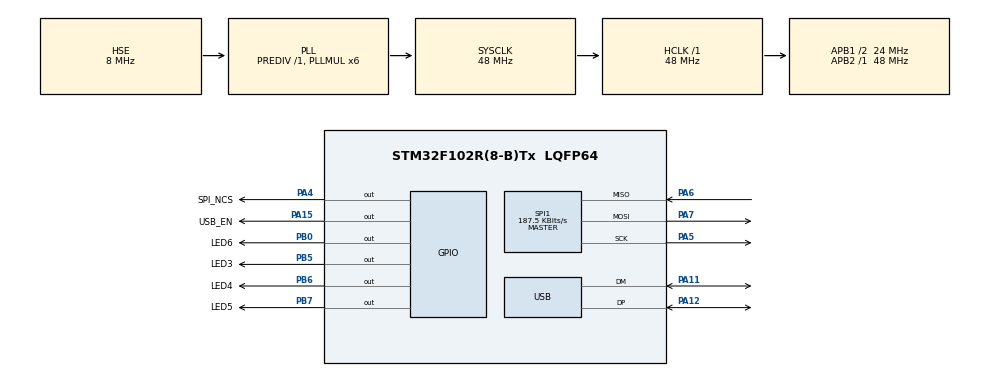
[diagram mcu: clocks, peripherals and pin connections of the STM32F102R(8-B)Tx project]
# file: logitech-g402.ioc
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Mcu.Family=STM32F1
Mcu.Name=STM32F102R(8-B)Tx
Mcu.Package=LQFP64
NVIC.PriorityGroup=NVIC_PRIORITYGROUP_4
NVIC.TIM4_IRQn=true\:0\:0\:false\:false\:true\:true\:true
NVIC.USB_HP_IRQn=true\:0\:0\:false\:false\:true\:true\:true
NVIC.USB_LP_IRQn=true\:0\:0\:false\:false\:true\:false\:true
PA11.Mode=Device
PA11.Signal=USB_DM
PA12.Mode=Device
PA12.Signal=USB_DP
PA13.Mode=Serial_Wire
PA13.Signal=SYS_JTMS-SWDIO
PA14.Mode=Serial_Wire
PA14.Signal=SYS_JTCK-SWCLK
PA15.GPIO_Label=USB_EN
PA15.Signal=GPIO_Output
PA4.GPIO_Label=SPI_NCS
PA4.GPIO_Speed=GPIO_SPEED_FREQ_HIGH
PA4.Signal=GPIO_Output
PA5.Mode=Full_Duplex_Master
PA5.Signal=SPI1_SCK
PA6.Mode=Full_Duplex_Master
PA6.Signal=SPI1_MISO
PA7.Mode=Full_Duplex_Master
PA7.Signal=SPI1_MOSI
PB0.GPIO_Label=LED6
PB0.Signal=GPIO_Output
PB5.GPIO_Label=LED3
PB5.Signal=GPIO_Output
PB6.GPIO_Label=LED4
PB6.Signal=GPIO_Output
PB7.GPIO_Label=LED5
PB7.Signal=GPIO_Output
PD0-OSC_IN.Mode=HSE-External-Oscillator
PD0-OSC_IN.Signal=RCC_OSC_IN
PD1-OSC_OUT.Mode=HSE-External-Oscillator
PD1-OSC_OUT.Signal=RCC_OSC_OUT
ProjectManager.HeapSize=0x200
ProjectManager.StackSize=0x400
ProjectManager.TargetToolchain=STM32CubeIDE
RCC.AHBFreq_Value=48000000
RCC.APB1CLKDivider=RCC_HCLK_DIV2
RCC.APB1Freq_Value=24000000
RCC.APB1TimFreq_Value=48000000
RCC.APB2Freq_Value=48000000
RCC.HCLKFreq_Value=48000000
RCC.PLLMUL=RCC_PLL_MUL6
RCC.SYSCLKFreq_VALUE=48000000
RCC.SYSCLKSource=RCC_SYSCLKSOURCE_PLLCLK
RCC.USBFreq_Value=48000000
SPI1.BaudRatePrescaler=SPI_BAUDRATEPRESCALER_256
SPI1.CLKPhase=SPI_PHASE_1EDGE
SPI1.CLKPolarity=SPI_POLARITY_LOW
SPI1.CalculateBaudRate=187.5 KBits/s
SPI1.Direction=SPI_DIRECTION_2LINES
SPI1.Mode=SPI_MODE_MASTER
SPI1.VirtualType=VM_MASTER
TIM4.Channel-Output\ Compare3\ No\ Output=TIM_CHANNEL_3
TIM4.Period=10 - 1
TIM4.Prescaler=48 - 1
TIM4.TIM_MasterOutputTrigger=TIM_TRGO_RESET
USB_DEVICE.CLASS_NAME_FS=CUSTOM_HID
USB_DEVICE.CUSTOM_HID_FS_BINTERVAL=0x1
USB_DEVICE.PID_CUSTOMHID_FS=0xFF11
USB_DEVICE.USBD_CUSTOMHID_OUTREPORT_BUF_SIZE=64
USB_DEVICE.USBD_CUSTOM_HID_REPORT_DESC_SIZE=64
USB_DEVICE.VirtualMode=CustomHid
USB_DEVICE.VirtualModeFS=Custom_Hid_FS
VP_TIM4_VS_ClockSourceINT.Mode=Internal
VP_TIM4_VS_no_output3.Mode=Output Compare3 No Output
VP_USB_DEVICE_VS_USB_DEVICE_CUSTOM_HID_FS.Mode=CUSTOM_HID_FS
board=custom

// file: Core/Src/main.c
/* USER CODE BEGIN Header */
/**
 ******************************************************************************
 * @file           : main.c
 * @brief          : Main program body
 ******************************************************************************
 * @attention
 *
 * Copyright (c) 2022 STMicroelectronics.
 * All rights reserved.
 *
 * This software is licensed under terms that can be found in the LICENSE file
 * in the root directory of this software component.
 * If no LICENSE file comes with this software, it is provided AS-IS.
 *
 ******************************************************************************
 */
/* USER CODE END Header */
#include "main.h"
#include "usb_device.h"

/* USER CODE BEGIN Includes */
#include "usbd_custom_hid_if.h"
/* USER CODE END Includes */

/* USER CODE BEGIN PTD */
#define ARRAY_SIZE	26
/* USER CODE END PTD */

SPI_HandleTypeDef hspi1;

TIM_HandleTypeDef htim4;

/* USER CODE BEGIN PV */
extern USBD_HandleTypeDef hUsbDeviceFS;

uint8_t	usb_rx_buffer[64];
uint8_t	usb_tx_buffer[64];
uint8_t	usb_rx_ready;
uint8_t	usb_tx_ready = 1;
uint8_t 		tmp;

struct __attribute__((__packed__))  FRAME{
	uint8_t	start;
	uint8_t	line;
	uint8_t	linebuff[ARRAY_SIZE * 2]; //accounts to about
}*frame;

volatile uint32_t us_tick;

/* USER CODE END PV */

void SystemClock_Config(void);
static void MX_GPIO_Init(void);
static void MX_SPI1_Init(void);
static void MX_TIM4_Init(void);

/* USER CODE BEGIN 0 */

void HAL_TIM_PeriodElapsedCallback(TIM_HandleTypeDef *htim)
{
	if (htim == &htim4)
	{
		if(us_tick > 0)
			us_tick--;
	}
}

void delay_us(uint32_t time)
{
	us_tick = time/10;
	while(us_tick != 0)
		__asm__("nop");
}

void blink()
{
	static uint32_t blink_tick;
	static uint32_t led;

	if(uwTick < blink_tick + 1000)
		return;

	switch(led)
	{
	case 0:
		HAL_GPIO_TogglePin(LED3_GPIO_Port, LED3_Pin);
		break;
	case 1:
		HAL_GPIO_TogglePin(LED4_GPIO_Port, LED4_Pin);
		break;
	case 2:
		HAL_GPIO_TogglePin(LED5_GPIO_Port, LED5_Pin);
		break;
	case 3:
		HAL_GPIO_TogglePin(LED6_GPIO_Port, LED6_Pin);
		break;
	}

	if(led < 3)
		led++;
	else
		led = 0;

	blink_tick = uwTick;
}

void spi_write(uint8_t addr,uint8_t data)
{
	HAL_GPIO_WritePin(SPI_NCS_GPIO_Port, SPI_NCS_Pin, GPIO_PIN_RESET);
	addr |= 0x80;
	HAL_SPI_Transmit(&hspi1, (uint8_t*)&addr , 1, 10);
	HAL_SPI_Transmit(&hspi1, (uint8_t*)&data , 1, 10);
	delay_us(180);
	HAL_GPIO_WritePin(SPI_NCS_GPIO_Port, SPI_NCS_Pin, GPIO_PIN_SET);
}

uint8_t spi_read(uint8_t addr)
{
	uint8_t data = 0;

	HAL_GPIO_WritePin(SPI_NCS_GPIO_Port, SPI_NCS_Pin, GPIO_PIN_RESET);

	HAL_SPI_Transmit(&hspi1, (uint8_t*)&addr , 1, 10);

	delay_us(160);

	HAL_SPI_Receive(&hspi1, (uint8_t*)&data, 1, 10);

	delay_us(20);

	HAL_GPIO_WritePin(SPI_NCS_GPIO_Port, SPI_NCS_Pin, GPIO_PIN_SET);

	return data;
}

/* USER CODE END 0 */

int main(void)
{

	/* MCU Configuration--------------------------------------------------------*/

	/* Reset of all peripherals, Initializes the Flash interface and the Systick. */
	HAL_Init();

	/* Configure the system clock */
	SystemClock_Config();

	/* Initialize all configusb_tx_bufferured peripherals */
	MX_GPIO_Init();
	MX_SPI1_Init();
	MX_TIM4_Init();
	MX_USB_DEVICE_Init();
	/* USER CODE BEGIN 2 */

	//there appears to be a mosfet that pull DP or DN high (depending on USB FS or LS)
	//to actually connect the USB bus to output we need to pull down this pin to enable the switch
	HAL_GPIO_WritePin(USB_EN_GPIO_Port, USB_EN_Pin,GPIO_PIN_RESET);

	HAL_TIM_Base_Start_IT(&htim4);

	/* USER CODE END 2 */

	/* Infinite loop */
	/* USER CODE BEGIN WHILE */

	/*
	 * The below code resets the sensor
	 * and initializes common registers
	 */

	HAL_Delay(3);

	//shutdown the sensor
	spi_write(0x3b, 0xb6);

	HAL_Delay(300);

	delay_us(40);

	delay_us(40);
	//power up reset
	spi_write(0x3a, 0x5a);

	delay_us(50);
	//set res
	spi_write(0x0d, 0x20);
	//set motion control
	spi_write(0x41, 0x00);
	//set auto led switching
	spi_write(0x43,0x08);
	//set led to be continuously on
	spi_write(0x40,0x4);
	//set rest mode to default
	spi_write(0x45,0x00);

	frame = (struct FRAME*) usb_tx_buffer;

	while (1)
	{
		/* USER CODE END WHILE */

		/* USER CODE BEGIN 3 */

		//uncomment this code to get some LED action going!
		//blink();

		frame->start = 1;
		frame->line = 0;

		//this disables rest mode
		spi_write(0x22, 0x80);

		//write something to the pixel_grab register to reset the current read pixel to 0
		spi_write(0x0b, 0x01);

		//read 26 * 26 pixel array
		for(uint32_t x = 0; x< ARRAY_SIZE/2;x++)
		{
			for(uint32_t y = 0; y< ARRAY_SIZE*2;)
			{
				tmp = spi_read(0x0b);

				//wait for a valid pixel, bit 7 contains the PIXEL_VALID value
				if(!(tmp & 128))
					continue;

				//only bits [0->6] contain the pixel data
				frame->linebuff[y] = tmp & 127;

				y++;
			}

			USBD_CUSTOM_HID_SendReport(&hUsbDeviceFS, usb_tx_buffer, 0x40);
			HAL_Delay(1);

			frame->line++;
			frame->start = 0;
		}

	}
	/* USER CODE END 3 */
}

void SystemClock_Config(void)
{
	RCC_OscInitTypeDef RCC_OscInitStruct = {0};
	RCC_ClkInitTypeDef RCC_ClkInitStruct = {0};
	RCC_PeriphCLKInitTypeDef PeriphClkInit = {0};

	/** Initializes the RCC Oscillators according to the specified parameters
	 * in the RCC_OscInitTypeDef structure.
	 */
	RCC_OscInitStruct.OscillatorType = RCC_OSCILLATORTYPE_HSE;
	RCC_OscInitStruct.HSEState = RCC_HSE_ON;
	RCC_OscInitStruct.HSEPredivValue = RCC_HSE_PREDIV_DIV1;
	RCC_OscInitStruct.HSIState = RCC_HSI_ON;
	RCC_OscInitStruct.PLL.PLLState = RCC_PLL_ON;
	RCC_OscInitStruct.PLL.PLLSource = RCC_PLLSOURCE_HSE;
	RCC_OscInitStruct.PLL.PLLMUL = RCC_PLL_MUL6;
	if (HAL_RCC_OscConfig(&RCC_OscInitStruct) != HAL_OK)
	{
		Error_Handler();
	}
	/** Initializes the CPU, AHB and APB buses clocks
	 */
	RCC_ClkInitStruct.ClockType = RCC_CLOCKTYPE_HCLK|RCC_CLOCKTYPE_SYSCLK
			|RCC_CLOCKTYPE_PCLK1|RCC_CLOCKTYPE_PCLK2;
	RCC_ClkInitStruct.SYSCLKSource = RCC_SYSCLKSOURCE_PLLCLK;
	RCC_ClkInitStruct.AHBCLKDivider = RCC_SYSCLK_DIV1;
	RCC_ClkInitStruct.APB1CLKDivider = RCC_HCLK_DIV2;
	RCC_ClkInitStruct.APB2CLKDivider = RCC_HCLK_DIV1;

	if (HAL_RCC_ClockConfig(&RCC_ClkInitStruct, FLASH_LATENCY_1) != HAL_OK)
	{
		Error_Handler();
	}
	PeriphClkInit.PeriphClockSelection = RCC_PERIPHCLK_USB;
	PeriphClkInit.UsbClockSelection = RCC_USBCLKSOURCE_PLL;
	if (HAL_RCCEx_PeriphCLKConfig(&PeriphClkInit) != HAL_OK)
	{
		Error_Handler();
	}
}

static void MX_SPI1_Init(void)
{

	/* SPI1 parameter configuration*/
	hspi1.Instance = SPI1;
	hspi1.Init.Mode = SPI_MODE_MASTER;
	hspi1.Init.Direction = SPI_DIRECTION_2LINES;
	hspi1.Init.DataSize = SPI_DATASIZE_8BIT;
	hspi1.Init.CLKPolarity = SPI_POLARITY_LOW;
	hspi1.Init.CLKPhase = SPI_PHASE_1EDGE;
	hspi1.Init.NSS = SPI_NSS_SOFT;
	hspi1.Init.BaudRatePrescaler = SPI_BAUDRATEPRESCALER_64;
	hspi1.Init.FirstBit = SPI_FIRSTBIT_MSB;
	hspi1.Init.TIMode = SPI_TIMODE_DISABLE;
	hspi1.Init.CRCCalculation = SPI_CRCCALCULATION_DISABLE;
	hspi1.Init.CRCPolynomial = 10;
	if (HAL_SPI_Init(&hspi1) != HAL_OK)
	{
		Error_Handler();
	}

}

static void MX_TIM4_Init(void)
{

	TIM_ClockConfigTypeDef sClockSourceConfig = {0};
	TIM_MasterConfigTypeDef sMasterConfig = {0};
	TIM_OC_InitTypeDef sConfigOC = {0};

	htim4.Instance = TIM4;
	htim4.Init.Prescaler = 48 - 1;
	htim4.Init.CounterMode = TIM_COUNTERMODE_UP;
	htim4.Init.Period = 10 - 1;
	htim4.Init.ClockDivision = TIM_CLOCKDIVISION_DIV1;
	htim4.Init.AutoReloadPreload = TIM_AUTORELOAD_PRELOAD_DISABLE;
	if (HAL_TIM_Base_Init(&htim4) != HAL_OK)
	{
		Error_Handler();
	}
	sClockSourceConfig.ClockSource = TIM_CLOCKSOURCE_INTERNAL;
	if (HAL_TIM_ConfigClockSource(&htim4, &sClockSourceConfig) != HAL_OK)
	{
		Error_Handler();
	}
	if (HAL_TIM_OC_Init(&htim4) != HAL_OK)
	{
		Error_Handler();
	}
	sMasterConfig.MasterOutputTrigger = TIM_TRGO_RESET;
	sMasterConfig.MasterSlaveMode = TIM_MASTERSLAVEMODE_DISABLE;
	if (HAL_TIMEx_MasterConfigSynchronization(&htim4, &sMasterConfig) != HAL_OK)
	{
		Error_Handler();
	}
	sConfigOC.OCMode = TIM_OCMODE_TIMING;
	sConfigOC.Pulse = 0;
	sConfigOC.OCPolarity = TIM_OCPOLARITY_HIGH;
	sConfigOC.OCFastMode = TIM_OCFAST_DISABLE;
	if (HAL_TIM_OC_ConfigChannel(&htim4, &sConfigOC, TIM_CHANNEL_3) != HAL_OK)
	{
		Error_Handler();
	}

}

static void MX_GPIO_Init(void)
{
	GPIO_InitTypeDef GPIO_InitStruct = {0};

	/* GPIO Ports Clock Enable */
	__HAL_RCC_GPIOD_CLK_ENABLE();
	__HAL_RCC_GPIOA_CLK_ENABLE();
	__HAL_RCC_GPIOB_CLK_ENABLE();

	/*Configure GPIO pin Output Level */
	HAL_GPIO_WritePin(GPIOA, SPI_NCS_Pin|USB_EN_Pin, GPIO_PIN_RESET);

	/*Configure GPIO pin Output Level */
	HAL_GPIO_WritePin(GPIOB, LED6_Pin|LED3_Pin|LED4_Pin|LED5_Pin, GPIO_PIN_RESET);

	/*Configure GPIO pin : SPI_NCS_Pin */
	GPIO_InitStruct.Pin = SPI_NCS_Pin;
	GPIO_InitStruct.Mode = GPIO_MODE_OUTPUT_PP;
	GPIO_InitStruct.Pull = GPIO_NOPULL;
	GPIO_InitStruct.Speed = GPIO_SPEED_FREQ_HIGH;
	HAL_GPIO_Init(SPI_NCS_GPIO_Port, &GPIO_InitStruct);

	/*Configure GPIO pins : LED6_Pin LED3_Pin LED4_Pin LED5_Pin */
	GPIO_InitStruct.Pin = LED6_Pin|LED3_Pin|LED4_Pin|LED5_Pin;
	GPIO_InitStruct.Mode = GPIO_MODE_OUTPUT_PP;
	GPIO_InitStruct.Pull = GPIO_NOPULL;
	GPIO_InitStruct.Speed = GPIO_SPEED_FREQ_LOW;
	HAL_GPIO_Init(GPIOB, &GPIO_InitStruct);

	/*Configure GPIO pin : USB_EN_Pin */
	GPIO_InitStruct.Pin = USB_EN_Pin;
	GPIO_InitStruct.Mode = GPIO_MODE_OUTPUT_PP;
	GPIO_InitStruct.Pull = GPIO_NOPULL;
	GPIO_InitStruct.Speed = GPIO_SPEED_FREQ_LOW;
	HAL_GPIO_Init(USB_EN_GPIO_Port, &GPIO_InitStruct);

}

void Error_Handler(void)
{
	__disable_irq();
	while (1)
	{
	}
}
